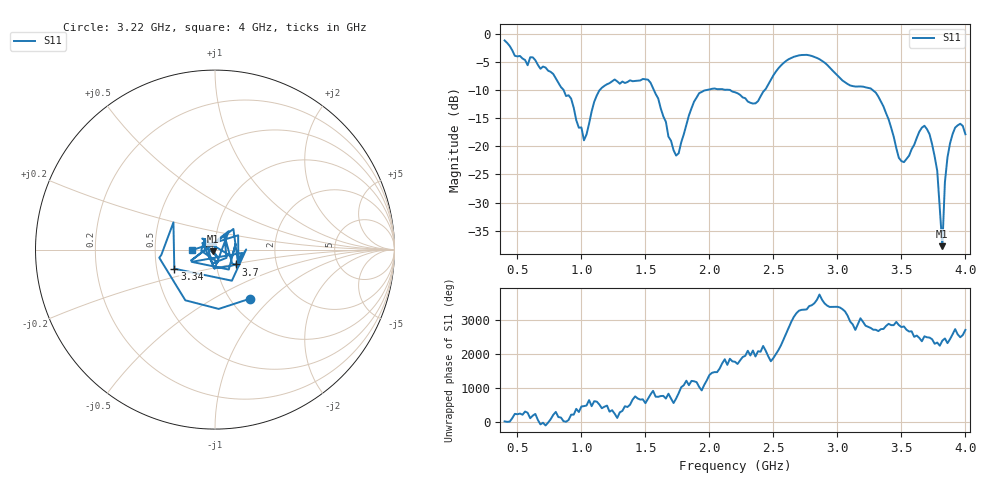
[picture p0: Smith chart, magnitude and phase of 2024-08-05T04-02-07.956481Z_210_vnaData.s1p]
!Created with skrf (http://scikit-rf.org).
# Hz S RI R 50.0
!freq ReS11 ImS11
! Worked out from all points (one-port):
!   181 points, 400 MHz to 4 GHz, reference 50 ohm
!   lowest |S11| = -37.8 dB at 3.82 GHz (marker M1), VSWR 1.03, Z = 49.1 - j0.9 ohm
!   |S11| at or under -10 dB: 861.1 MHz to 1.143 GHz (281.6 MHz wide, 28.1 % of centre); 1.567 GHz to 1.974 GHz (406.9 MHz wide, 23 % of centre); 3.276 GHz to end of sweep (the widest 3 of 4)
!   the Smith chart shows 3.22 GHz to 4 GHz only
!   S11 on the Smith chart (normalised r, x): 3.22 GHz: 1.22, -0.75; 3.34 GHz: 0.62, -0.14; 3.7 GHz: 1.24, -0.21; 4 GHz: 0.77, -0.00
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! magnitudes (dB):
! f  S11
! 400 MHz  -1.2
! 860 MHz  -9.9
! 920 MHz  -11.5
! 1.02 GHz  -18.9
! 1.14 GHz  -10.1
! 1.3 GHz  -8.9
! 1.54 GHz  -8.7
! 1.72 GHz  -20.7
! 1.76 GHz  -21.2
! 1.84 GHz  -14.5
! 1.92 GHz  -10.5
! 2.2 GHz  -10.4
! 2.36 GHz  -12.3
! 2.66 GHz  -4.1
! 2.86 GHz  -4.5
! 3.1 GHz  -9.2
! 3.22 GHz  -9.5
! 3.34 GHz  -12.0
! 3.48 GHz  -22.0
! 3.56 GHz  -21.7
! 3.66 GHz  -16.7
! 3.7 GHz  -16.9
! 3.78 GHz  -24.4
! 3.82 GHz  -37.8
! 3.84 GHz  -26.4
! 3.88 GHz  -19.5
! 3.96 GHz  -16.0
! 4 GHz  -17.8
